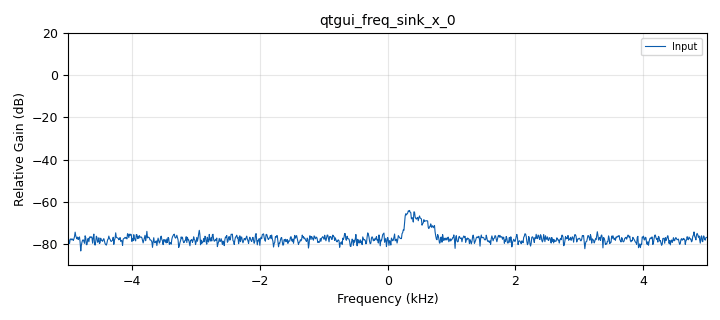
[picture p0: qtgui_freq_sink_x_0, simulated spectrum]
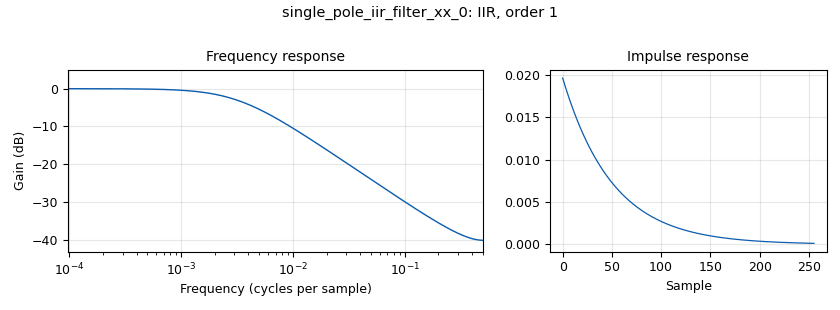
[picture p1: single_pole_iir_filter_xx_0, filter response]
options:
  parameters:
    author: Stefano Speretta
    generate_options: qt_gui
    id: coherent_carrier_generation
    output_language: python
    title: Coherent Carrier Generation
  states: {}

blocks:
- name: amplitude
  id: variable_qtgui_range
  parameters:
    gui_hint: 7,1,1,1
    label: Signal Level
    start: '0.001'
    step: '0.001'
    stop: '1'
    value: '0.01'
  states: {}
- name: coherency
  id: variable_qtgui_chooser
  parameters:
    gui_hint: 6,1,1,1
    label: Coherency
    label0: Open Loop
    label1: Coherent
    num_opts: '2'
    option0: '0'
    option1: '1'
    orient: Qt.QHBoxLayout
    type: int
    value: '1'
    widget: radio_buttons
  states: {}
- name: fft_size
  id: variable
  parameters:
    value: '1024'
  states: {}
- name: frequency
  id: variable_qtgui_range
  parameters:
    gui_hint: 5,1,1,1
    label: Center frequency (Hz)
    start: '-40e3'
    step: '100'
    stop: 40e3
    value: '0'
  states: {}
- name: loop_filter_2nd_order
  id: loop_filter
  parameters:
    damping: '0.707'
    natural_freq: '800'
    order: 2nd
    samp_rate: samp_rate
    t1: '0.01'
    t2: '0.6'
  states: {}
- name: loop_filter_3rd_order
  id: loop_filter
  parameters:
    damping: '0.707'
    natural_freq: '500'
    order: 3rd
    samp_rate: samp_rate
    t1: '0.01'
    t2: '0.0674'
  states: {}
- name: loop_order_chooser
  id: variable_qtgui_chooser
  parameters:
    label: PLL Loop Order
    label0: Second Order
    label1: Third Order
    num_opts: '2'
    option0: loop_filter_2nd_order
    option1: loop_filter_3rd_order
    orient: Qt.QHBoxLayout
    type: raw
    value: loop_filter_2nd_order
    widget: radio_buttons
  states: {}
- name: modulation_coeff_down
  id: variable_qtgui_range
  parameters:
    gui_hint: 4,1,1,1
    label: Downlink Modulation Coefficent
    start: '0'
    step: '0.1'
    stop: '1'
    value: '0'
    widget: counter
  states: {}
- name: modulation_coeff_up
  id: variable_qtgui_range
  parameters:
    gui_hint: 3,1,1,1
    label: Uplink Modulation Coefficent
    start: '0'
    step: '0.1'
    stop: '1'
    value: '0'
    widget: counter
  states: {}
- name: samp_rate
  id: variable
  parameters:
    value: '10000'
  states: {}
- name: snr
  id: variable_qtgui_range
  parameters:
    gui_hint: 2,1,1,1
    label: SNR (dB)
    start: '-20'
    step: '1'
    stop: '50'
    value: '20'
  states: {}
- name: subcarrier
  id: variable
  parameters:
    value: '60000'
  states: {}
- name: sweep_range
  id: variable_qtgui_range
  parameters:
    gui_hint: 1,1,1,1
    label: Sweep Range (Hz)
    start: '0'
    step: 1e3
    stop: 1E6
    value: '100000'
  states: {}
- name: sweep_rate
  id: variable_qtgui_range
  parameters:
    gui_hint: 0,1, 1, 1
    label: Sweep rate (Hz/s)
    start: '0'
    step: '100'
    stop: 50e3
    value: '4000'
  states: {}
- name: analog_noise_source_x_0
  id: analog_noise_source_x
  parameters:
    amp: 10**(-snr/10)
    noise_type: analog.GR_GAUSSIAN
    seed: '0'
    type: complex
  states: {}
- name: analog_sig_source_x_0_0
  id: analog_sig_source_x
  parameters:
    amp: '1.5'
    freq: '0.10'
    offset: '0.25'
    phase: '3.14'
    samp_rate: samp_rate
    type: float
    waveform: analog.GR_TRI_WAVE
  states: {}
- name: blocks_add_xx_1
  id: blocks_add_xx
  parameters:
    type: complex
  states: {}
- name: blocks_complex_to_float_2
  id: blocks_complex_to_float
  parameters: {}
  states: {}
- name: blocks_null_sink_0
  id: blocks_null_sink
  parameters:
    type: float
  states: {}
- name: blocks_null_sink_0_0
  id: blocks_null_sink
  parameters:
    type: float
  states: {}
- name: blocks_null_sink_1
  id: blocks_null_sink
  parameters:
    type: float
  states: {}
- name: blocks_null_source_0
  id: blocks_null_source
  parameters:
    type: complex
  states: {state: disabled}
- name: blocks_throttle_0
  id: blocks_throttle
  parameters:
    samples_per_second: samp_rate
    type: complex
  states: {}
- name: blocks_vco_c_0
  id: blocks_vco_c
  parameters:
    amplitude: '1'
    samp_rate: samp_rate
    sensitivity: 6.28*1e3
  states: {}
- name: ecss_pll_0
  id: ecss_pll
  parameters:
    N: '38'
    bw: '0'
    coefficients: loop_order_chooser
    freq_central: '1000'
    samp_rate: samp_rate
  states: {}
- name: ecss_signal_search_fft_v_0
  id: ecss_signal_search_fft_v
  parameters:
    average: 'False'
    bandwidth: '2000'
    decimation: '1'
    enable: 'True'
    fftsize: '256'
    freq_central: '750'
    freq_cutoff: '100.0'
    samp_rate: samp_rate
    threshold: '10.0'
    win_type: window.WIN_BLACKMAN_hARRIS
  states: {}
- name: qtgui_freq_sink_x_0
  id: qtgui_freq_sink_x
  parameters:
    average: '0.05'
    bw: samp_rate
    fc: '0'
    fftsize: '1024'
    grid: 'True'
    gui_hint: 0,0,7,1
    label1: Input
    type: complex
    wintype: window.WIN_BLACKMAN
    ymax: '20'
    ymin: '-90'
  states: {}
- name: qtgui_number_sink_0
  id: qtgui_number_sink
  parameters:
    graph_type: qtgui.NUM_GRAPH_HORIZ
    type: float
  states: {}
- name: single_pole_iir_filter_xx_0
  id: single_pole_iir_filter_xx
  parameters:
    alpha: '0.0196'
    type: float
  states: {}

connections:
- [analog_noise_source_x_0, '0', blocks_add_xx_1, '1']
- [analog_sig_source_x_0_0, '0', blocks_vco_c_0, '0']
- [blocks_add_xx_1, '0', blocks_throttle_0, '0']
- [blocks_complex_to_float_2, '0', single_pole_iir_filter_xx_0, '0']
- [blocks_complex_to_float_2, '1', blocks_null_sink_1, '0']
- [blocks_throttle_0, '0', ecss_signal_search_fft_v_0, '0']
- [blocks_throttle_0, '0', qtgui_freq_sink_x_0, '0']
- [blocks_vco_c_0, '0', blocks_add_xx_1, '0']
- [ecss_pll_0, '0', blocks_complex_to_float_2, '0']
- [ecss_pll_0, '1', blocks_null_sink_0_0, '0']
- [ecss_pll_0, '2', blocks_null_sink_0, '0']
- [ecss_signal_search_fft_v_0, '0', ecss_pll_0, '0']
- [single_pole_iir_filter_xx_0, '0', qtgui_number_sink_0, '0']

metadata:
  file_format: 1
